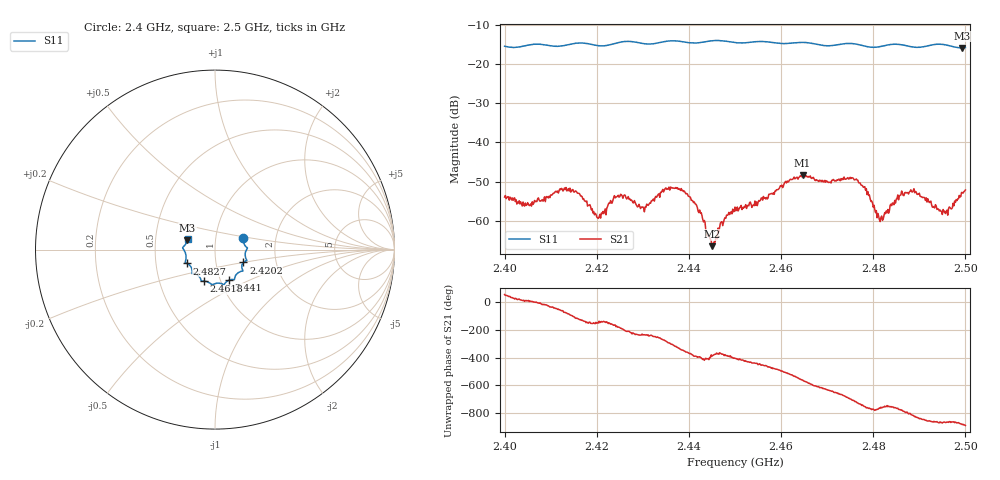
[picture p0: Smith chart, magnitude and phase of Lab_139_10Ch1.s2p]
# Hz S RI R 50
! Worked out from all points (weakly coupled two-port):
!   601 points, 2.4 GHz to 2.5 GHz, reference 50 ohm
!   highest |S21| = -48.41 dB at 2.4647 GHz (marker M1); lowest = -66.5 dB at 2.445 GHz (marker M2)
!   lowest |S11| = -15.8 dB at 2.4993 GHz (marker M3), VSWR 1.39, Z = 36.5 + j3.85 ohm
!   |S11| at or under -10 dB: start of sweep to end of sweep
!   S12 and S22 are empty: the file has one direction only
!   S11 on the Smith chart (normalised r, x): 2.4 GHz: 1.36, +0.18; 2.4202 GHz: 1.36, -0.20; 2.441 GHz: 1.10, -0.39; 2.4618 GHz: 0.84, -0.30; 2.4827 GHz: 0.72, -0.11; 2.5 GHz: 0.73, +0.09
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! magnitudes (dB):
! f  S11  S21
! 2.4 GHz  -15.4  -54.0
! 2.4053 GHz  -15.0  -56.1
! 2.4167 GHz  -14.5  -53.7
! 2.4202 GHz  -15.2  -59.3
! 2.4242 GHz  -14.6  -54.0
! 2.43 GHz  -14.7  -56.5
! 2.4333 GHz  -14.5  -53.3
! 2.4375 GHz  -14.0  -51.6
! 2.441 GHz  -14.6  -55.4
! 2.445 GHz  -14.0  -66.5
! 2.45 GHz  -14.4  -56.5
! 2.4618 GHz  -14.6  -49.6
! 2.4647 GHz  -14.4  -48.4
! 2.4667 GHz  -14.6  -49.2
! 2.4762 GHz  -14.8  -49.5
! 2.481 GHz  -15.6  -58.2
! 2.4827 GHz  -15.2  -58.2
! 2.4833 GHz  -15.0  -58.1
! 2.4883 GHz  -15.5  -52.6
! 2.4958 GHz  -15.1  -57.6
! 2.4993 GHz  -15.8  -52.8
! 2.5 GHz  -15.7  -52.2
